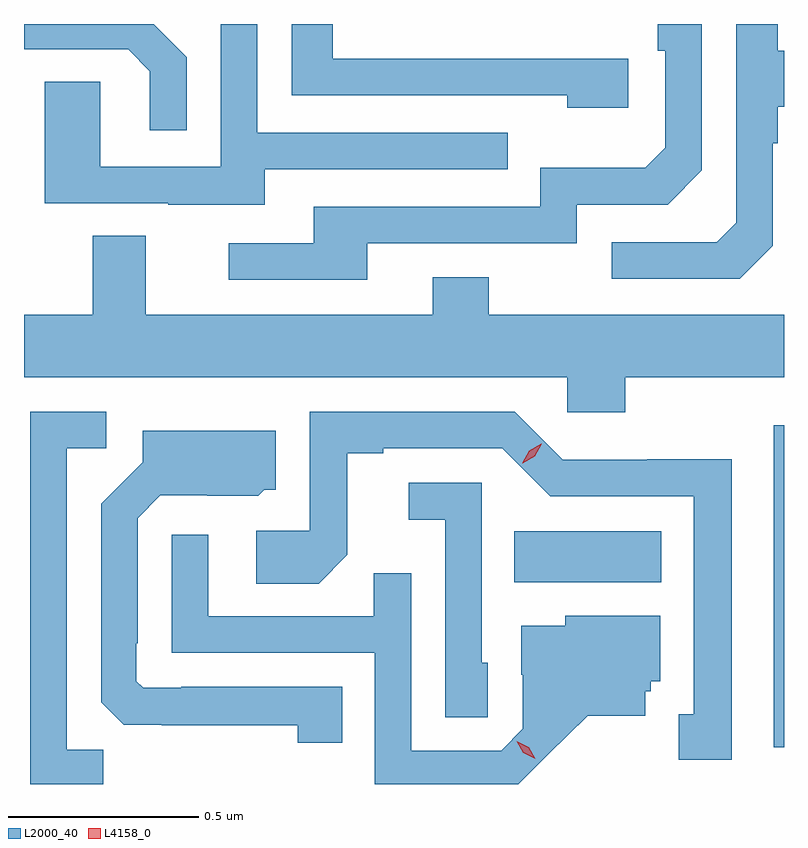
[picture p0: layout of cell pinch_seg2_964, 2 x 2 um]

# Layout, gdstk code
import gdstk
lib = gdstk.Library(unit=1e-6, precision=1e-09)
def R(c, l, rs):  # rectangles x0, y0, x1, y1
    for r in rs: c.add(gdstk.rectangle(r[:2], r[2:], *l))
def P(c, l, *ps):  # polygons
    for p in ps: c.add(gdstk.Polygon(p, *l))
L2000_40 = (2000, 40)
L4158_0 = (4158, 0)

pinch_seg2_964 = lib.new_cell('pinch_seg2_964')
R(pinch_seg2_964, L2000_40, [(318.759,658.65,318.786,659.497), (318.076,659.084,318.463,659.218)])
P(pinch_seg2_964, L2000_40, [(318.376,660.462),(317.599,660.462),(317.599,660.553),(317.49,660.553),(317.49,660.366),(318.215,660.366),(318.215,660.332),(318.376,660.332)],
  [(317.214,660.466),(317.127,660.553),(316.786,660.553),(316.786,660.486),(317.06,660.486),(317.117,660.429),(317.117,660.273),(317.214,660.273)],
  [(317.689,659.976),(318.24,659.976),(318.24,660.078),(318.48,660.078),(318.57,660.168),(318.57,660.553),(318.454,660.553),(318.454,660.482),(318.474,660.482),(318.474,660.228),(318.421,660.175),(318.144,660.175),(318.144,660.072),(317.549,660.072),(317.549,659.976),(317.325,659.976),(317.325,659.88),(317.689,659.88)],
  [(318.756,659.97),(318.756,660.239),(318.769,660.239),(318.769,660.335),(318.786,660.335),(318.786,660.483),(318.769,660.483),(318.769,660.553),(318.66,660.553),(318.66,660.03),(318.609,659.979),(318.333,659.979),(318.333,659.883),(318.669,659.883)],
  [(317.419,660.171),(318.059,660.171),(318.059,660.267),(317.4,660.267),(317.4,660.553),(317.304,660.553),(317.304,660.177),(316.986,660.177),(316.986,660.401),(316.841,660.401),(316.841,660.081),(317.165,660.081),(317.165,660.077),(317.419,660.077)],
  [(318.368,659.624),(318.786,659.624),(318.786,659.788),(318.009,659.788),(318.009,659.887),(317.861,659.887),(317.861,659.788),(317.107,659.788),(317.107,659.996),(316.967,659.996),(316.967,659.788),(316.786,659.788),(316.786,659.624),(318.216,659.624),(318.216,659.531),(318.368,659.531)],
  [(318.649,659.408),(318.426,659.408),(318.426,659.406),(318.204,659.406),(318.078,659.532),(317.538,659.532),(317.538,659.22),(317.397,659.22),(317.397,659.08),(317.561,659.08),(317.637,659.156),(317.637,659.424),(317.731,659.424),(317.731,659.436),(318.045,659.436),(318.171,659.31),(318.548,659.31),(318.548,658.737),(318.509,658.737),(318.509,658.617),(318.649,658.617)],
  [(316.995,658.643),(316.899,658.643),(316.899,659.436),(317.002,659.436),(317.002,659.532),(316.803,659.532),(316.803,658.553),(316.995,658.553)],
  [(317.624,658.809),(317.2,658.809),(317.2,658.806),(317.1,658.806),(317.082,658.824),(317.082,658.924),(317.085,658.924),(317.085,659.253),(317.145,659.313),(317.268,659.313),(317.268,659.312),(317.402,659.312),(317.418,659.328),(317.449,659.328),(317.449,659.482),(317.099,659.482),(317.099,659.4),(316.989,659.29),(316.989,658.768),(317.048,658.709),(317.149,658.709),(317.149,658.708),(317.506,658.708),(317.506,658.662),(317.624,658.662)],
  [(318.006,658.872),(317.991,658.872),(317.991,659.346),(317.799,659.346),(317.799,659.249),(317.895,659.249),(317.895,658.729),(318.006,658.729)],
  [(318.166,658.631),(318.269,658.733),(318.421,658.733),(318.421,658.797),(318.435,658.797),(318.435,658.824),(318.46,658.824),(318.46,658.996),(318.21,658.996),(318.21,658.969),(318.095,658.969),(318.095,658.84),(318.099,658.84),(318.099,658.698),(318.042,658.641),(317.805,658.641),(317.805,659.108),(317.707,659.108),(317.707,658.995),(317.271,658.995),(317.271,659.209),(317.175,659.209),(317.175,658.899),(317.709,658.899),(317.709,658.553),(318.087,658.553)])
P(pinch_seg2_964, L4158_0, [(318.097,659.397),(318.097,659.397),(318.115,659.43),(318.147,659.448),(318.148,659.448),(318.148,659.448),(318.13,659.416),(318.098,659.397)],
  [(318.131,658.62),(318.1,658.635),(318.083,658.665),(318.083,658.665),(318.083,658.665),(318.114,658.65),(318.131,658.62),(318.131,658.62)])

lib.write_gds('pinch_seg2_964.gds')
